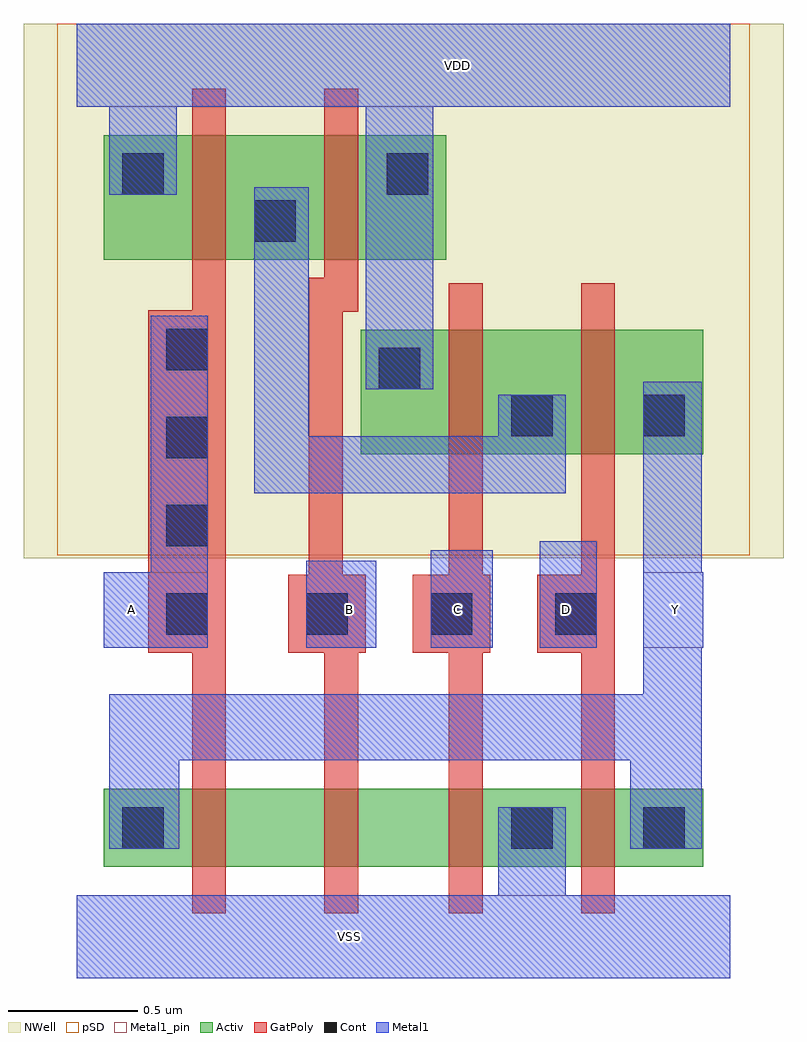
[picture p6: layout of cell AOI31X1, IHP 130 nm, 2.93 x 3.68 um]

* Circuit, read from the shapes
.subckt AOI31X1 A B C D VDD VSS Y
XM1 n1 A Y VSUBS sg13_lv_nmos w=0.3u l=0.13u
XM2 n2 B n1 VSUBS sg13_lv_nmos w=0.3u l=0.13u
XM3 VSS C n2 VSUBS sg13_lv_nmos w=0.3u l=0.13u
XM4 Y D VSS VSUBS sg13_lv_nmos w=0.3u l=0.13u
XM5 n3 A VDD n4 sg13_lv_pmos w=0.48u l=0.13u
XM6 VDD B n3 n4 sg13_lv_pmos w=0.48u l=0.13u
XM7 n3 C VDD n4 sg13_lv_pmos w=0.48u l=0.13u
XM8 Y D n3 n4 sg13_lv_pmos w=0.48u l=0.13u
.ends

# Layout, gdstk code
import gdstk
lib = gdstk.Library(unit=1e-6, precision=1e-09)
def R(c, l, rs):  # rectangles x0, y0, x1, y1
    for r in rs: c.add(gdstk.rectangle(r[:2], r[2:], *l))
def A(c, l, x, y, w, h, nx, ny, dx, dy):  # array of equal rectangles
    R(c, l, [(x+i*dx, y+j*dy, x+i*dx+w, y+j*dy+h) for i in range(nx) for j in range(ny)])
def P(c, l, *ps):  # polygons
    for p in ps: c.add(gdstk.Polygon(p, *l))
Activ = (1, 0)
GatPoly = (5, 0)
Cont = (6, 0)
Metal1 = (8, 0)
Metal1_pin = (8, 2)
pSD = (14, 0)
NWell = (31, 0)

aoi31x1 = lib.new_cell('AOI31X1')
R(aoi31x1, Activ, [(0.105,0.27,2.415,0.57), (1.095,1.86,2.415,2.34), (0.105,2.61,1.425,3.09)])
P(aoi31x1, GatPoly, [(1.595,1.395),(1.565,1.395),(1.565,2.52),(1.435,2.52),(1.435,1.395),(1.295,1.395),(1.295,1.095),(1.435,1.095),(1.435,0.09),(1.565,0.09),(1.565,1.095),(1.595,1.095)],
  [(2.075,2.52),(1.945,2.52),(1.945,1.395),(1.775,1.395),(1.775,1.095),(1.945,1.095),(1.945,0.09),(2.075,0.09)],
  [(1.115,1.395),(1.025,1.395),(1.025,2.41),(1.085,2.41),(1.085,3.27),(0.955,3.27),(0.955,2.54),(0.895,2.54),(0.895,1.395),(0.815,1.395),(0.815,1.095),(0.955,1.095),(0.955,0.09),(1.085,0.09),(1.085,1.095),(1.115,1.095)],
  [(0.575,3.27),(0.445,3.27),(0.445,2.415),(0.275,2.415),(0.275,1.095),(0.445,1.095),(0.445,0.09),(0.575,0.09)])
A(aoi31x1, Cont, 0.345, 1.165, 0.16, 0.16, 1, 4, 0, 0.34)
A(aoi31x1, Cont, 0.885, 1.165, 0.16, 0.16, 3, 1, 0.48, 0)
R(aoi31x1, Cont, [(0.175,0.34,0.335,0.5), (1.675,0.34,1.835,0.5), (2.185,0.34,2.345,0.5), (1.675,1.93,1.835,2.09), (2.185,1.93,2.345,2.09), (1.165,2.11,1.325,2.27), (0.685,2.68,0.845,2.84), (0.175,2.86,0.335,3.02), (1.195,2.86,1.355,3.02)])
R(aoi31x1, Metal1, [(0,-0.16,2.52,0.16), (1.625,0.16,1.885,0.5), (0.885,1.115,1.155,1.45), (1.365,1.115,1.605,1.49), (1.785,1.115,2.005,1.525), (1.115,2.11,1.375,3.2), (0.125,2.86,0.385,3.2), (0,3.2,2.52,3.52)])
P(aoi31x1, Metal1, [(0.505,2.395),(0.285,2.395),(0.285,1.405),(0.105,1.405),(0.105,1.115),(0.505,1.115)],
  [(2.415,1.405),(2.41,1.405),(2.41,2.14),(2.185,2.14),(2.185,0.935),(0.125,0.935),(0.125,0.34),(0.395,0.34),(0.395,0.68),(2.135,0.68),(2.135,0.34),(2.41,0.34),(2.41,1.115),(2.415,1.115)],
  [(1.885,2.09),(1.625,2.09),(1.625,1.93),(0.895,1.93),(0.895,2.89),(0.685,2.89),(0.685,1.71),(1.885,1.71)])
R(aoi31x1, Metal1_pin, [(0,-0.16,2.52,0.16), (0.105,1.115,0.505,1.405), (0.885,1.115,1.155,1.45), (1.365,1.115,1.605,1.49), (1.785,1.115,2.005,1.525), (2.185,1.115,2.415,1.405), (0,3.2,2.52,3.52)])
R(aoi31x1, pSD, [(-0.075,1.47,2.595,3.52)])
R(aoi31x1, NWell, [(-0.205,1.46,2.725,3.52)])
aoi31x1.add(gdstk.Label('VDD', (1.47,3.36), layer=8, texttype=25))
aoi31x1.add(gdstk.Label('VSS', (1.05,0), layer=8, texttype=25))
aoi31x1.add(gdstk.Label('B', (1.05,1.26), layer=8, texttype=25))
aoi31x1.add(gdstk.Label('A', (0.21,1.26), layer=8, texttype=25))
aoi31x1.add(gdstk.Label('D', (1.89,1.26), layer=8, texttype=25))
aoi31x1.add(gdstk.Label('C', (1.47,1.26), layer=8, texttype=25))
aoi31x1.add(gdstk.Label('Y', (2.31,1.26), layer=8, texttype=25))

lib.write_gds('AOI31X1.gds')
